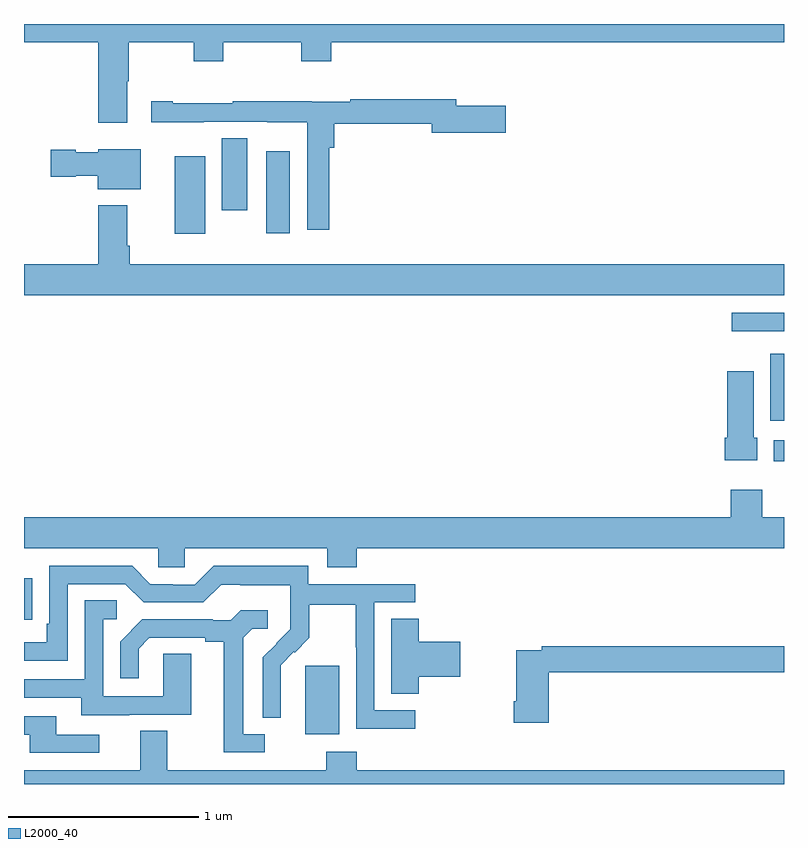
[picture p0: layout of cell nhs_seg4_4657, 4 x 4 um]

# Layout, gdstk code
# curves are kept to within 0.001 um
import gdstk
lib = gdstk.Library(unit=1e-6, precision=1e-09)
def R(c, l, rs):  # rectangles x0, y0, x1, y1
    for r in rs: c.add(gdstk.rectangle(r[:2], r[2:], *l))
def P(c, l, *ps):  # polygons
    for p in ps: c.add(gdstk.Polygon(p, *l))
L2000_40 = (2000, 40)

nhs_seg4_4657 = lib.new_cell('nhs_seg4_4657')
R(nhs_seg4_4657, L2000_40, [(362.48,809.162,362.659,809.523), (361,809.764,361.043,809.983), (364.947,810.6,365,810.708), (364.928,810.812,365,811.165), (364.725,811.284,365,811.38), (361.793,811.797,361.954,812.203), (362.276,811.8,362.398,812.23), (362.042,811.92,362.176,812.3)])
P(nhs_seg4_4657, L2000_40, [(361.543,812.6),(361.551,812.6),(361.551,812.804),(361.894,812.804),(361.894,812.705),(362.049,812.705),(362.049,812.804),(362.458,812.804),(362.458,812.705),(362.618,812.705),(362.618,812.804),(365,812.804),(365,812.9),(361,812.9),(361,812.804),(361.391,812.804),(361.391,812.379),(361.543,812.379)],
  [(362.606,812.249),(362.633,812.249),(362.633,812.374),(363.146,812.374),(363.146,812.327),(363.535,812.327),(363.535,812.469),(363.274,812.469),(363.274,812.503),(362.716,812.503),(362.716,812.492),(362.514,812.492),(362.514,812.494),(362.099,812.494),(362.099,812.484),(361.783,812.484),(361.783,812.494),(361.671,812.494),(361.671,812.384),(361.946,812.384),(361.946,812.385),(362.28,812.385),(362.28,812.384),(362.49,812.384),(362.49,811.818),(362.606,811.818)],
  [(361.615,812.242),(361.392,812.242),(361.392,812.224),(361.272,812.224),(361.272,812.237),(361.14,812.237),(361.14,812.095),(361.272,812.095),(361.272,812.102),(361.388,812.102),(361.388,812.03),(361.615,812.03)],
  [(365,811.636),(361.556,811.636),(361.556,811.732),(361.543,811.732),(361.543,811.945),(361.391,811.945),(361.391,811.636),(361,811.636),(361,811.472),(365,811.472)],
  [(364.858,810.723),(364.84,810.723),(364.84,811.072),(364.7,811.072),(364.7,810.723),(364.688,810.723),(364.688,810.605),(364.858,810.605)],
  [(362.75,810.14),(365,810.14),(365,810.304),(364.885,810.304),(364.885,810.448),(364.721,810.448),(364.721,810.304),(361,810.304),(361,810.14),(361.707,810.14),(361.707,810.042),(361.845,810.042),(361.845,810.14),(362.597,810.14),(362.597,810.041),(362.75,810.041)],
  [(363.058,809.289),(362.844,809.289),(362.844,809.856),(363.058,809.856),(363.058,809.952),(362.496,809.952),(362.496,810.049),(361.999,810.049),(361.899,809.949),(361.784,809.949),(361.784,809.952),(361.665,809.952),(361.569,810.048),(361.134,810.048),(361.134,809.743),(361.121,809.743),(361.121,809.646),(361,809.646),(361,809.55),(361.23,809.55),(361.23,809.952),(361.533,809.952),(361.629,809.856),(361.944,809.856),(362.037,809.949),(362.137,809.949),(362.137,809.945),(362.4,809.945),(362.4,809.811),(362.402,809.811),(362.402,809.714),(362.256,809.566),(362.256,809.248),(362.352,809.248),(362.351,809.525),(362.421,809.595),(362.424,809.592),(362.501,809.669),(362.501,809.844),(362.746,809.844),(362.746,809.62),(362.748,809.62),(362.748,809.191),(363.058,809.191)],
  [(361.555,809.265),(361.879,809.265),(361.879,809.585),(361.734,809.585),(361.734,809.361),(361.416,809.361),(361.416,809.766),(361.489,809.766),(361.489,809.867),(361.32,809.867),(361.32,809.451),(361,809.451),(361,809.355),(361.301,809.355),(361.301,809.261),(361.555,809.261)],
  [(362.266,809.163),(362.155,809.163),(362.155,809.671),(362.202,809.718),(362.284,809.718),(362.284,809.815),(362.14,809.815),(362.088,809.763),(361.994,809.763),(361.994,809.766),(361.622,809.766),(361.506,809.65),(361.506,809.457),(361.603,809.457),(361.603,809.613),(361.66,809.67),(361.955,809.67),(361.955,809.648),(362.051,809.648),(362.051,809.067),(362.266,809.067)],
  [(363.077,809.465),(363.295,809.465),(363.295,809.648),(363.077,809.648),(363.077,809.771),(362.933,809.771),(362.933,809.374),(363.077,809.374)],
  [(363.761,809.488),(365,809.488),(365,809.624),(363.724,809.624),(363.724,809.604),(363.59,809.604),(363.59,809.335),(363.578,809.335),(363.578,809.223),(363.761,809.223)],
  [(361.396,809.16),(361.171,809.16),(361.171,809.256),(361,809.256),(361,809.16),(361.031,809.16),(361.031,809.064),(361.396,809.064)],
  [(365,808.972),(362.75,808.972),(362.75,809.071),(362.59,809.071),(362.59,808.972),(361.753,808.972),(361.753,809.18),(361.613,809.18),(361.613,808.972),(361,808.972),(361,808.9),(365,808.9)])

lib.write_gds('nhs_seg4_4657.gds')
